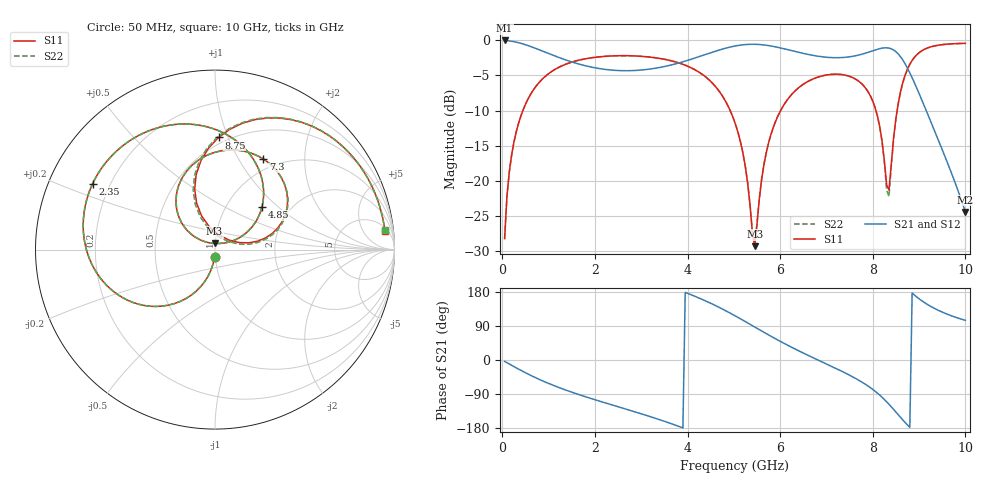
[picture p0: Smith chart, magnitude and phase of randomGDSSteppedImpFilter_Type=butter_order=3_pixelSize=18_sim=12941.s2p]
! freq	dB(S11)	phase(S11)	dB(S12)	phase(S12)
!  dB(S21)	phase(S21)	dB(S22)	phase(S22)
!S-par simulation data
#  GHz  S  DB  R 50
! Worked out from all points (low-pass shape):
!   200 points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, 50 MHz to 10 GHz, reference 50 ohm
!   highest |S21| = -0.01 dB at 50 MHz (marker M1); lowest = -24.5 dB at 10 GHz (marker M2)
!   |S21| within 3 dB of the highest: start of sweep to 1.471 GHz; 3.922 GHz to 8.668 GHz (4.746 GHz wide, 75.4 % of centre)
!   lowest |S11| = -29.3 dB at 5.45 GHz (marker M3), VSWR 1.07, Z = 49.6 + j3.38 ohm
!   |S11| at or under -10 dB: start of sweep to 444.5 MHz; 4.92 GHz to 6.011 GHz (1.091 GHz wide, 20 % of centre); 8.068 GHz to 8.526 GHz (458.4 MHz wide, 5.53 % of centre)
!   |S22| runs from -29.1 to -0.4 dB; largest |S21 - S12| = 0
!   S11 on the Smith chart (normalised r, x): 50 MHz: 0.99, -0.08; 2.35 GHz: 0.14, +0.25; 4.85 GHz: 1.46, +0.79; 7.3 GHz: 0.86, +1.28; 8.75 GHz: 0.45, +0.92; 10 GHz: 7, +15
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0.05  -28.26 -93.7  -0.01 -3.5  -0.01 -3.5  -28.26 -93.7
0.2  -16.41 -104.4  -0.12 -13.9  -0.12 -13.9  -16.41 -104.4
0.5  -9.12 -124.1  -0.62 -33.6  -0.62 -33.6  -9.12 -124.1
1  -4.74 -152.4  -1.87 -61.8  -1.87 -61.8  -4.74 -152.4
1.75  -2.68 174.3  -3.54 -95.1  -3.54 -95.1  -2.68 174.3
2.35  -2.22 151.6  -4.23 -117.9  -4.23 -117.9  -2.22 151.6
3.4  -2.57 112.3  -3.86 -157.6  -3.86 -157.6  -2.57 112.3
4.25  -4.54 74.5  -2.32 163.5  -2.32 163.5  -4.54 74.5
4.85  -9.03 42.2  -1.07 128.3  -1.07 128.3  -9.03 42.2
5.05  -12.26 31.6  -0.77 115.1  -0.77 115.1  -12.26 31.7
5.25  -18.07 25.6  -0.60 101.2  -0.60 101.2  -18.06 25.9
5.45  -29.34 94.1  -0.55 87.1  -0.55 87.1  -29.13 93.9
5.65  -17.70 148.0  -0.65 73.1  -0.65 73.1  -17.68 147.5
5.85  -12.43 141.3  -0.86 59.4  -0.86 59.4  -12.43 141.0
6.7  -5.53 94.4  -2.13 6.6  -2.13 6.6  -5.53 94.1
7.3  -4.85 61.8  -2.46 -27.9  -2.46 -27.9  -4.85 61.5
8  -8.67 18.9  -1.48 -77.6  -1.48 -77.6  -8.69 17.8
8.35  -21.33 77.0  -1.10 -116.7  -1.10 -116.7  -22.28 78.8
8.5  -11.11 111.6  -1.61 -137.4  -1.61 -137.4  -11.21 113.6
8.75  -4.08 88.2  -3.97 -171.5  -3.97 -171.5  -4.10 89.1
9.35  -0.76 38.5  -13.15 135.0  -13.15 135.0  -0.77 38.8
10  -0.42 6.3  -24.48 104.6  -24.48 104.6  -0.42 6.6
